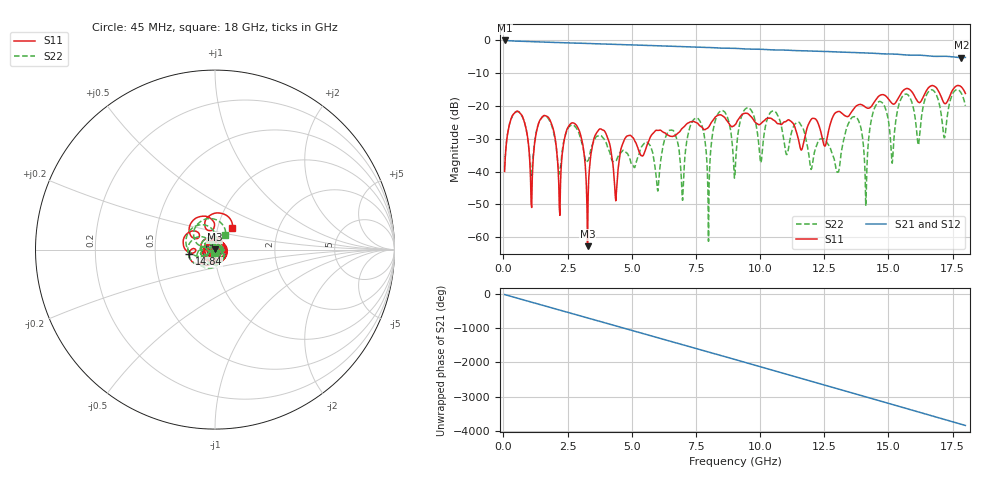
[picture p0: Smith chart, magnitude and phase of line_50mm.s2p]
!Agilent Technologies,E8364A,US41440284,A.06.04.32
!Agilent E8364A: A.06.04.32
!Date: Friday, December 06, 2019 10:49:37
!Correction: S11(Full 2 Port(1,2)) S21(Full 2 Port(1,2)) S12(Full 2 Port(1,2)) S22(Full 2 Port(1,2))
!S2P File: Measurements: S11, S21, S12, S22:
# Hz S  MA  R 50
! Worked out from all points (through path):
!   801 points, 45 MHz to 18 GHz, reference 50 ohm
!   highest |S21| = -0.03 dB at 45 MHz (marker M1); lowest = -5.2 dB at 17.84 GHz (marker M2)
!   group delay of S21, straight-line fit = 593 ps
!   lowest |S11| = -62.7 dB at 3.277 GHz (marker M3), VSWR 1.00, Z = 50 + j0.0584 ohm
!   |S11| at or under -10 dB: start of sweep to end of sweep
!   |S22| runs from -61.2 to -15.0 dB; largest |S21 - S12| = 0.002
!   S11 on the Smith chart (normalised r, x): 45 MHz: 1.00, -0.02; 14.84 GHz: 0.75, -0.04; 18 GHz: 1.17, +0.29
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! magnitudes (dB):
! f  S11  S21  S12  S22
! 45 MHz  -39.9  0.0  0.0  -38.7
! 516.3 MHz  -21.6  -0.2  -0.2  -21.7
! 1.077 GHz  -49.7  -0.4  -0.4  -41.6
! 1.549 GHz  -23.0  -0.5  -0.5  -23.2
! 2.177 GHz  -51.1  -0.7  -0.7  -40.7
! 3.052 GHz  -30.3  -0.9  -0.9  -31.2
! 3.277 GHz  -62.7  -0.9  -0.9  -36.7
! 3.726 GHz  -27.2  -1.1  -1.1  -29.0
! 4.377 GHz  -48.9  -1.2  -1.2  -36.8
! 6.037 GHz  -27.4  -1.7  -1.7  -44.2
! 7.519 GHz  -25.1  -2.1  -2.1  -23.7
! 7.99 GHz  -26.5  -2.2  -2.2  -61.2
! 8.484 GHz  -22.7  -2.4  -2.4  -21.4
! 9.023 GHz  -25.7  -2.4  -2.4  -41.0
! 9.516 GHz  -22.3  -2.7  -2.7  -20.5
! 12.03 GHz  -23.8  -3.3  -3.3  -38.1
! 13.67 GHz  -20.7  -3.7  -3.7  -23.3
! 14.12 GHz  -20.4  -3.8  -3.9  -50.5
! 14.84 GHz  -16.6  -4.1  -4.1  -19.8
! 15.01 GHz  -18.0  -4.2  -4.2  -25.2
! 17.84 GHz  -14.2  -5.2  -5.2  -16.1
! 18 GHz  -16.2  -5.2  -5.2  -19.9
